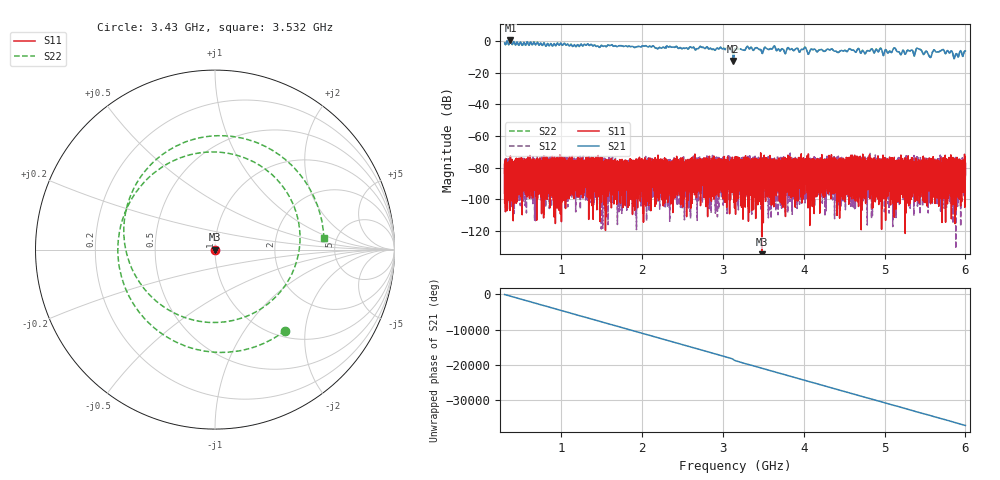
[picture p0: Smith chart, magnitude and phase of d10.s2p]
!Agilent Technologies,N5230C,SG49000117,A.08.50.07
!Agilent N5230C: A.08.50.07
!Date: Sunday, March 17, 2024 02:30:46
!Correction: S11(Off)
!S21(Off)
!S12(Off)
!S22(Off)
!S2P File: Measurements: S11, S21, S12, S22:
# Hz S  RI  R 50
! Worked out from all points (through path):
!   20001 points, 300 MHz to 6 GHz, reference 50 ohm
!   highest |S21| = 0.39 dB at 372.7 MHz (marker M1); lowest = -12.6 dB at 3.129 GHz (marker M2)
!   lowest |S11| = -137.8 dB at 3.481 GHz (marker M3), VSWR 1.00, Z = 50 - j7.28e-06 ohm
!   |S11| at or under -10 dB: start of sweep to end of sweep
!   |S22| runs from -12.5 to 0.4 dB; largest |S21 - S12| = 1
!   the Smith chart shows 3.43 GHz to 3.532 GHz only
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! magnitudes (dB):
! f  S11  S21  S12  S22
! 300 MHz  -81.3  -1.1  -83.3  -1.1
! 372.7 MHz  -97.0  0.4  -80.8  0.4
! 1.25 GHz  -81.8  -2.1  -90.5  -2.1
! 2.2 GHz  -86.3  -4.7  -82.3  -4.7
! 3.068 GHz  -87.9  -4.3  -82.5  -4.3
! 3.129 GHz  -85.0  -12.6  -82.6  -12.5
! 3.15 GHz  -81.7  -4.7  -82.0  -4.6
! 3.32 GHz  -82.8  -4.6  -87.7  -4.5
! 3.481 GHz  -137.8  -6.9  -77.6  -6.9
! 3.625 GHz  -79.3  -3.7  -75.2  -3.6
! 3.764 GHz  -86.7  -7.3  -92.7  -7.3
! 4.1 GHz  -79.5  -5.1  -77.0  -5.0
! 5.05 GHz  -80.7  -7.2  -79.4  -7.1
! 5.124 GHz  -82.9  -4.3  -92.3  -4.3
! 5.185 GHz  -80.7  -7.3  -84.2  -7.3
! 5.359 GHz  -79.2  -8.2  -81.5  -8.2
! 5.419 GHz  -83.6  -4.9  -97.9  -4.9
! 5.561 GHz  -79.8  -10.1  -95.5  -10.2
! 5.614 GHz  -81.3  -5.5  -78.1  -5.5
! 5.712 GHz  -79.1  -5.6  -90.8  -5.6
! 5.882 GHz  -94.8  -8.1  -80.8  -8.2
! 6 GHz  -83.8  -6.3  -85.1  -6.3
